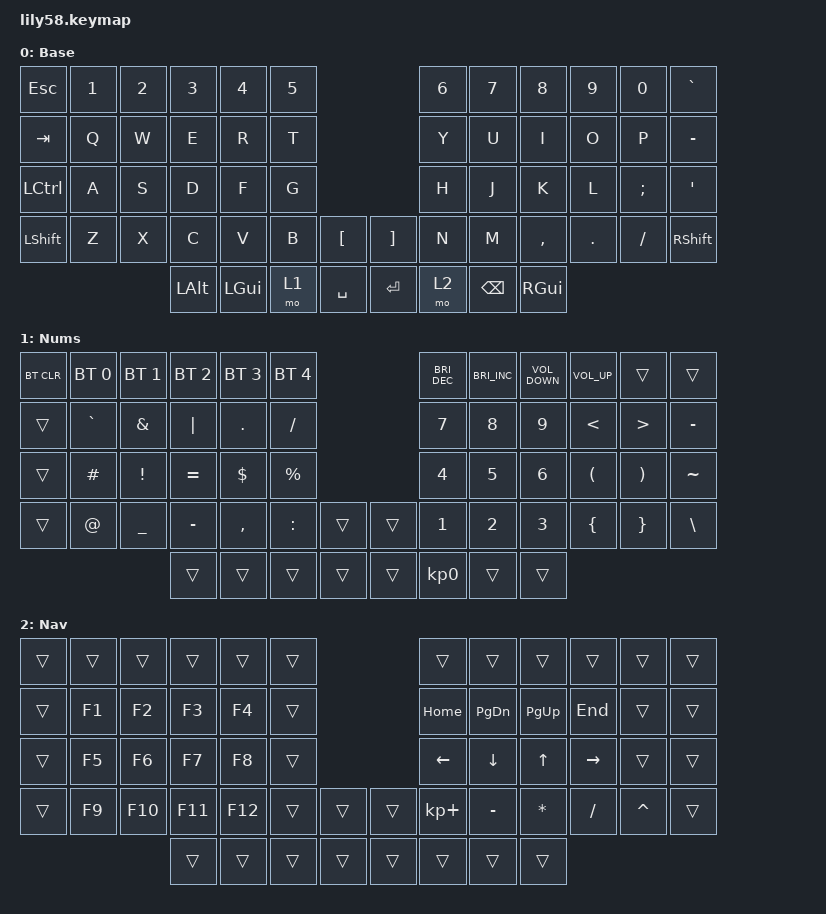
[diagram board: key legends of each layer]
/*
 * Copyright (c) 2020 The ZMK Contributors
 *
 * SPDX-License-Identifier: MIT
 */

#include <behaviors.dtsi>
#include <dt-bindings/zmk/bt.h>
#include <dt-bindings/zmk/keys.h>

/ {
    keymap {
        compatible = "zmk,keymap";

        default_layer {
            // ------------------------------------------------------------------------------------------------------------
            // |  ESC  |  1  |  2  |  3   |  4   |  5   |                   |  6   |  7    |  8    |  9   |   0   |   `   |
            // |  TAB  |  Q  |  W  |  E   |  R   |  T   |                   |  Y   |  U    |  I    |  O   |   P   |   -   |
            // |  CTRL |  A  |  S  |  D   |  F   |  G   |                   |  H   |  J    |  K    |  L   |   ;   |   '   |
            // | SHIFT |  Z  |  X  |  C   |  V   |  B   |   "["  |  |  "]"  |  N   |  M    |  ,    |  .   |   /   | SHIFT |
            //                     | ALT  | GUI  | LOWER|  SPACE |  | ENTER | RAISE| BSPC  | GUI   |

            display-name = "Base";
            bindings = <
&kp ESC           &kp N1  &kp N2  &kp N3    &kp N4    &kp N5                         &kp N6  &kp N7    &kp N8     &kp N9   &kp N0    &kp GRAVE
&kp TAB           &kp Q   &kp W   &kp E     &kp R     &kp T                          &kp Y   &kp U     &kp I      &kp O    &kp P     &kp MINUS
&kp LEFT_CONTROL  &kp A   &kp S   &kp D     &kp F     &kp G                          &kp H   &kp J     &kp K      &kp L    &kp SEMI  &kp SQT
&kp LSHIFT        &kp Z   &kp X   &kp C     &kp V     &kp B   &kp LBKT     &kp RBKT  &kp N   &kp M     &kp COMMA  &kp DOT  &kp FSLH  &kp RSHFT
                                  &kp LALT  &kp LGUI  &mo 1   &kp SPACE    &kp RET   &mo 2   &kp BSPC  &kp RGUI
            >;
        };

        lower_layer {
            // ------------------------------------------------------------------------------------------------------------
            // | BTCLR | BT1 | BT2 |  BT3 |  BT4 |  BT5 |                   |      |       |       |      |       |       |
            // |  F1   |  F2 |  F3 |  F4  |  F5  |  F6  |                   |  F7  |  F8   |  F9   |  F10 |  F11  |  F12  |
            // |   `   |  !  |  @  |  #   |  $   |  %   |                   |  ^   |  &    |  *    |  (   |   )   |   ~   |
            // |       |     |     |      |      |      |        |  |       |      |  _    |  +    |  {   |   }   |  "|"  |
            //                     |      |      |      |        |  |       |      |       |       |

            display-name = "Nums";
            bindings = <
&bt BT_CLR  &bt BT_SEL 0  &bt BT_SEL 1     &bt BT_SEL 2  &bt BT_SEL 3  &bt BT_SEL 4                    &kp C_BRIGHTNESS_DEC  &kp C_BRIGHTNESS_INC  &kp C_VOLUME_DOWN  &kp C_VOLUME_UP  &trans            &trans
&trans      &kp GRAVE     &kp AMPERSAND    &kp PIPE      &kp PERIOD    &kp SLASH                       &kp N7                &kp N8                &kp N9             &kp LESS_THAN    &kp GREATER_THAN  &kp MINUS
&trans      &kp HASH      &kp EXCLAMATION  &kp EQUAL     &kp DOLLAR    &kp PRCNT                       &kp NUMBER_4          &kp N5                &kp NUMBER_6       &kp LPAR         &kp RPAR          &kp TILDE
&trans      &kp AT_SIGN   &kp UNDERSCORE   &kp MINUS     &kp COMMA     &kp COLON     &trans    &trans  &kp N1                &kp N2                &kp N3             &kp LBRC         &kp RBRC          &kp BACKSLASH
                                           &trans        &trans        &trans        &trans    &trans  &kp KP_NUMBER_0       &trans                &trans
            >;
        };

        raise_layer {
            // ------------------------------------------------------------------------------------------------------------
            // |       |     |     |      |      |      |                   |      |       |       |      |       |       |
            // |   `   |  1  |  2  |  3   |  4   |  5   |                   |  6   |   7   |   8   |  9   |   0   |       |
            // |   F1  |  F2 |  F3 |  F4  |  F5  |  F6  |                   |      |   <-  |   v   |  ^   |  ->   |       |
            // |   F7  |  F8 |  F9 |  F10 |  F11 |  F12 |        |  |       |  +   |   -   |   =   |  [   |   ]   |   \   |
            //                     |      |      |      |        |  |       |      |       |       |

            display-name = "Nav";
            bindings = <
&trans  &trans  &trans   &trans   &trans   &trans                    &trans          &trans         &trans        &trans     &trans     &trans
&trans  &kp F1  &kp F2   &kp F3   &kp F4   &trans                    &kp HOME        &kp PAGE_DOWN  &kp PG_UP     &kp END    &trans     &trans
&trans  &kp F5  &kp F6   &kp F7   &kp F8   &trans                    &kp LEFT_ARROW  &kp DOWN       &kp UP_ARROW  &kp RIGHT  &trans     &trans
&trans  &kp F9  &kp F10  &kp F11  &kp F12  &trans  &trans    &trans  &kp KP_PLUS     &kp MINUS      &kp ASTERISK  &kp FSLH   &kp CARET  &trans
                         &trans   &trans   &trans  &trans    &trans  &trans          &trans         &trans
            >;
        };
    };
};
